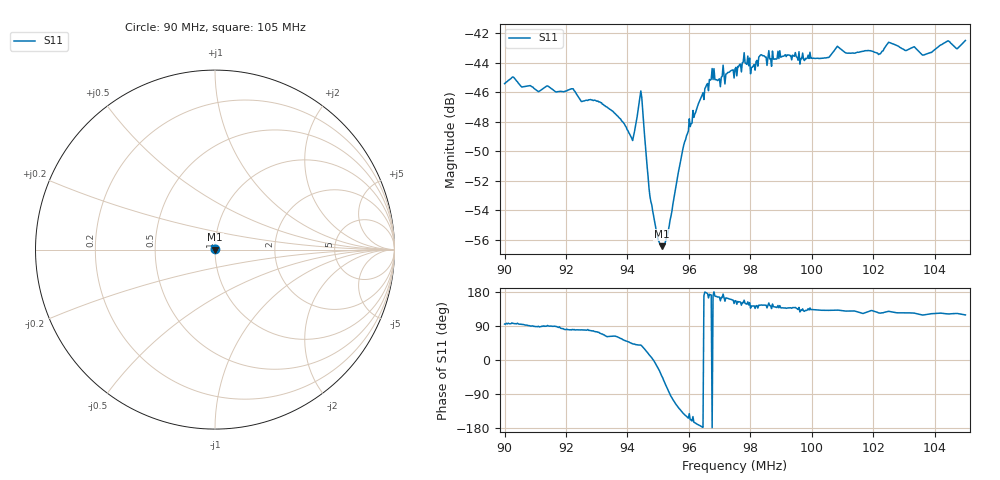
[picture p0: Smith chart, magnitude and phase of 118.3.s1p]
# HZ S RI R 50
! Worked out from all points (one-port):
!   505 points, 90 MHz to 105 MHz, reference 50 ohm
!   lowest |S11| = -56.4 dB at 95.12 MHz (marker M1), VSWR 1.00, Z = 50.1 - j0.103 ohm
!   |S11| at or under -10 dB: start of sweep to end of sweep
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9e7  -0.000452 0.00534
9.026786e7  -0.000645 0.00561
9.187501e7  0.000638 0.005
9.309525e7  0.00152 0.00439
9.375001e7  0.00217 0.00347
9.416668e7  0.00252 0.00234
9.443454e7  0.00392 0.00321
9.449406e7  0.00359 0.00246
9.467263e7  0.00247 0.000756
9.476192e7  0.00211 0.000314
9.497025e7  0.00158 -0.00049
9.511906e7  0.0011 -0.00103
9.529764e7  0.000416 -0.00159
9.562502e7  -0.00137 -0.00218
9.607145e7  -0.00364 -0.00145
9.675597e7  -0.00602 -0.000147
9.696431e7  -0.00537 0.00131
9.750002e7  -0.00551 0.0024
9.785717e7  -0.00532 0.00329
9.80655e7  -0.00483 0.00371
9.836312e7  -0.00551 0.00384
9.937503e7  -0.005 0.00445
1.0125e8  -0.0043 0.00526
1.022024e8  -0.00378 0.00559
1.025298e8  -0.00454 0.00581
1.03125e8  -0.00395 0.00575
1.036608e8  -0.00326 0.00585
1.05e8  -0.00363 0.00656
